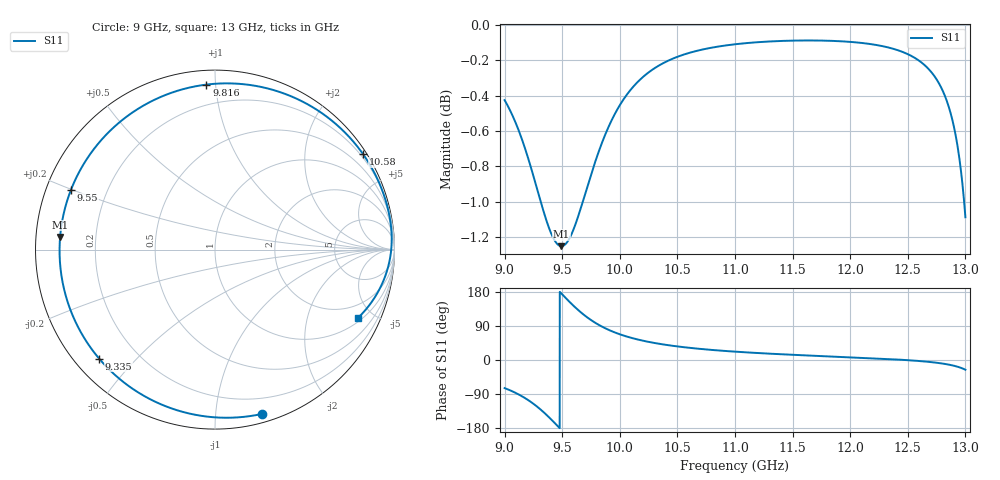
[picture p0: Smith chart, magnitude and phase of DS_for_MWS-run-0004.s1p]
! TOUCHSTONE file generated by CST DESIGN STUDIO
! Date and time: Tue Feb  4 18:23:06 2025
! Project name: C:\Work\MatlabApps\UnitCellOptimizationMatlab\CST\unitcell.cst
! Tree item: Tasks\Sweep1\SPara1\S-Parameters
! Header version: 2024
! Port assignment regex: !\s*Touchstone port\s*([0-9]+)\s*=\s*(CST MWS port|CST DES external port|CST DES block port)\s*(.+)\s* \(\"(.*)\"\)(\s*mode\s*([0-9]+))?.*
! Touchstone port assignment:
! Touchstone port 1 = CST DES external port 1 ("")
# GHz S MA R 50
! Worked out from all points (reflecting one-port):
!   4001 points, 9 GHz to 13 GHz, reference 50 ohm
!   lowest |S11| = -1.3 dB at 9.493 GHz (marker M1), VSWR 13.91, Z = 3.6 + j2.01 ohm
!   phase of S11 starts at -74 deg and turns -312 deg over the sweep
!   S11 on the Smith chart (normalised r, x): 9 GHz: 0.07, -1.32; 9.335 GHz: 0.07, -0.40; 9.55 GHz: 0.07, +0.20; 9.816 GHz: 0.08, +0.95; 10.58 GHz: 0.12, +3.37; 13 GHz: 1.18, -4.07
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9  0.9522 -74.1
9.087  0.9397 -85.5
9.192  0.9196 -103.3
9.266  0.9025 -119.2
9.335  0.8864 -136.7
9.419  0.8709 -161.3
9.456  0.8672 -172.9
9.493  0.8659 175.4
9.5  0.8659 173.1
9.55  0.8688 157.5
9.615  0.8783 138.3
9.678  0.8911 121.7
9.743  0.9055 106.9
9.816  0.9206 93.0
9.906  0.9363 79.2
10  0.949 67.9
10.102  0.9593 58.3
10.216  0.9675 49.9
10.5  0.9794 35.8
10.579  0.9814 33.0
11  0.9874 22.0
11.5  0.9897 13.7
12  0.9889 7.2
12.5  0.9811 -0.5
12.689  0.971 -5.1
12.832  0.953 -10.9
12.923  0.9277 -17.0
13  0.8823 -25.6
